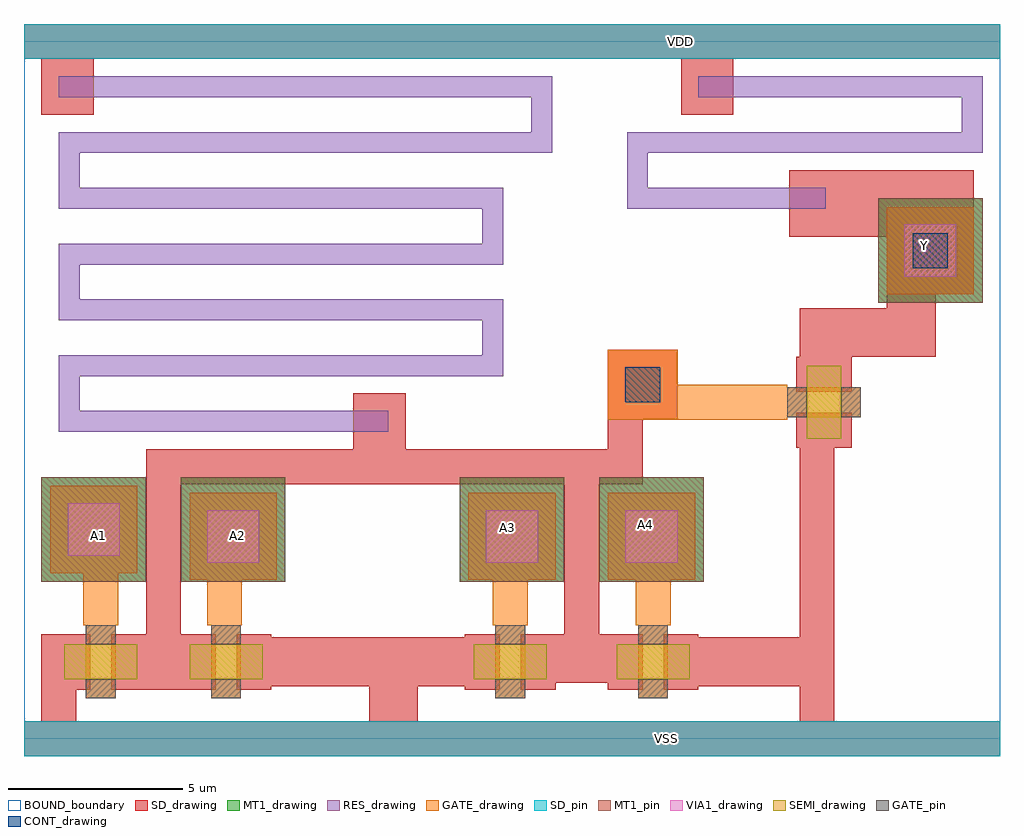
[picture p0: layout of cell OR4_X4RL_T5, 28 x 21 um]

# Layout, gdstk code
from math import pi, radians
import gdstk
lib = gdstk.Library(unit=1e-6, precision=1e-09)
def R(c, l, rs):  # rectangles x0, y0, x1, y1
    for r in rs: c.add(gdstk.rectangle(r[:2], r[2:], *l))
def P(c, l, *ps):  # polygons
    for p in ps: c.add(gdstk.Polygon(p, *l))
RES_drawing = (1, 0)
SEMI_drawing = (3, 0)
SD_drawing = (10, 0)
SD_pin = (10, 3)
GATE_drawing = (11, 0)
GATE_pin = (11, 3)
MT1_drawing = (20, 0)
MT1_pin = (20, 3)
CONT_drawing = (30, 0)
VIA1_drawing = (41, 0)
BOUND_boundary = (150, 5)

nch_cdns_772545144510 = lib.new_cell('nch_CDNS_772545144510')
R(nch_cdns_772545144510, SEMI_drawing, [(-1.05,-0.5,1.05,0.5)])
R(nch_cdns_772545144510, SD_drawing, [(-1.3,-0.8,-0.3,0.8), (0.3,-0.8,1.3,0.8)])
R(nch_cdns_772545144510, GATE_drawing, [(-0.425,-1.05,0.425,1.05)])
R(nch_cdns_772545144510, GATE_pin, [(-0.425,-1.05,0.425,-0.5), (-0.425,0.5,0.425,1.05)])

sd_gate_cdns_77254514451 = lib.new_cell('SD_GATE_CDNS_772545144510')
R(sd_gate_cdns_77254514451, SD_drawing, [(-1,-1,1,1)])
R(sd_gate_cdns_77254514451, GATE_drawing, [(-1,-1,1,1)])
R(sd_gate_cdns_77254514451, CONT_drawing, [(-0.5,-0.5,0.5,0.5)])

c_sd_gate_cdns_77254514451 = lib.new_cell('SD_GATE_CDNS_772545144511')
R(c_sd_gate_cdns_77254514451, SD_drawing, [(-1.25,-1.25,1.25,1.25)])
R(c_sd_gate_cdns_77254514451, GATE_drawing, [(-1.25,-1.25,1.25,1.25)])
R(c_sd_gate_cdns_77254514451, CONT_drawing, [(-0.5,-0.5,0.5,0.5)])

gate_mt1_stack_cdns_7725 = lib.new_cell('GATE_MT1_STACK_CDNS_772545144512')
R(gate_mt1_stack_cdns_7725, GATE_drawing, [(-1.25,-1.25,1.25,1.25)])
R(gate_mt1_stack_cdns_7725, MT1_drawing, [(-1.25,-1.25,1.25,1.25)])
R(gate_mt1_stack_cdns_7725, VIA1_drawing, [(-0.75,-0.75,0.75,0.75)])

or4_x4rl_t5 = lib.new_cell('OR4_X4RL_T5')
R(or4_x4rl_t5, SD_drawing, [(0,-0.5,28,0.5), (0.5,0.5,1.5,3), (15.25,1.6,16.75,3), (9.45,8.3,10.95,9.9), (21.95,14.4,27.25,16.3), (0.5,17.9,2,19.5), (18.85,17.9,20.35,19.5), (0,19.5,28,20.5)])
R(or4_x4rl_t5, SD_pin, [(0,-0.5,28,0.5), (0,19.5,28,20.5)])
P(or4_x4rl_t5, GATE_drawing, [(14.45,3.35),(13.45,3.35),(13.45,3.25),(13.575,3.25),(13.575,3.2),(14.325,3.2),(14.325,3.25),(14.45,3.25)],
  [(6.25,3.35),(5.25,3.35),(5.25,3.25),(5.425,3.25),(5.425,3.2),(6.175,3.2),(6.175,3.25),(6.25,3.25)],
  [(2.7,3.35),(1.7,3.35),(1.7,3.25),(1.825,3.25),(1.825,3.2),(2.575,3.2),(2.575,3.25),(2.7,3.25)],
  [(21.8,10.15),(21.8,9.15),(21.9,9.15),(21.9,9.275),(21.95,9.275),(21.95,10.025),(21.9,10.025),(21.9,10.15)],
  [(18.55,3.35),(17.55,3.35),(17.55,3.25),(17.675,3.25),(17.675,3.2),(18.425,3.2),(18.425,3.25),(18.55,3.25)])
R(or4_x4rl_t5, MT1_drawing, [(0.5,4.5,3.5,7.5), (4.5,4.5,7.5,7.5), (12.5,4.5,15.5,7.5), (16.5,4.5,19.5,7.5), (24.5,12.5,27.5,15.5)])
R(or4_x4rl_t5, MT1_pin, [(0.5,4.5,3.5,7.5), (4.5,4.5,7.5,7.5), (12.5,4.5,15.5,7.5), (16.5,4.5,19.5,7.5), (24.5,12.5,27.5,15.5)])
R(or4_x4rl_t5, BOUND_boundary, [(0,0,28,20)])
or4_x4rl_t5.add(gdstk.FlexPath([(10.6,2.2),(7.1,2.2)], 1.4, ends=(0.7, 0), simple_path=True, layer=10, datatype=0))  # SD_drawing
or4_x4rl_t5.add(gdstk.FlexPath([(22.95,10.95),(22.95,11.65)], 1.4, ends=(0, 0.7), simple_path=True, layer=10, datatype=0))  # SD_drawing
or4_x4rl_t5.add(gdstk.FlexPath([(4.5,2.2),(4,2.2)], 1.4, ends=(0, 0.5), simple_path=True, layer=10, datatype=0))  # SD_drawing
or4_x4rl_t5.add(gdstk.FlexPath([(17.25,7.8),(17.25,11.15)], 1, ends=(0.5, 0), simple_path=True, layer=10, datatype=0))  # SD_drawing
or4_x4rl_t5.add(gdstk.FlexPath([(22.75,7.85),(22.75,0.5)], 1, ends=(0.5, 0), simple_path=True, layer=10, datatype=0))  # SD_drawing
or4_x4rl_t5.add(gdstk.FlexPath([(4,7.8),(16,7.8)], 1, ends=(0, 0.5), simple_path=True, layer=10, datatype=0))  # SD_drawing
or4_x4rl_t5.add(gdstk.FlexPath([(10.6,2.2),(10.6,0.5)], 1.4, ends=(0.7, 0), simple_path=True, layer=10, datatype=0))  # SD_drawing
or4_x4rl_t5.add(gdstk.FlexPath([(4,2.2),(4,7.8)], 1, ends=(0.7, 0.5), simple_path=True, layer=10, datatype=0))  # SD_drawing
or4_x4rl_t5.add(gdstk.FlexPath([(16,7.8),(17.25,7.8)], 1, ends="extended", simple_path=True, layer=10, datatype=0))  # SD_drawing
or4_x4rl_t5.add(gdstk.FlexPath([(4,1.4),(4,2.2)], 1, ends=(0, 0.7), simple_path=True, layer=10, datatype=0))  # SD_drawing
or4_x4rl_t5.add(gdstk.FlexPath([(25.45,11.65),(25.45,12.85)], 1.4, ends=(0.7, 0), simple_path=True, layer=10, datatype=0))  # SD_drawing
or4_x4rl_t5.add(gdstk.FlexPath([(19.35,2.2),(22.25,2.2)], 1.4, ends="flush", simple_path=True, layer=10, datatype=0))  # SD_drawing
or4_x4rl_t5.add(gdstk.FlexPath([(16,7.8),(16,1.6)], 1, ends=(0.5, 0), simple_path=True, layer=10, datatype=0))  # SD_drawing
or4_x4rl_t5.add(gdstk.FlexPath([(22.95,11.65),(25.45,11.65)], 1.4, ends="extended", simple_path=True, layer=10, datatype=0))  # SD_drawing
or4_x4rl_t5.add(gdstk.FlexPath([(11.95,2.2),(10.6,2.2)], 1.4, ends="extended", simple_path=True, layer=10, datatype=0))  # SD_drawing
or4_x4rl_t5.add(gdstk.FlexPath([(21.8,9.65),(16.75,9.65)], 1, ends="flush", simple_path=True, layer=11, datatype=0))  # GATE_drawing
or4_x4rl_t5.add(gdstk.FlexPath([(2.2,3.35),(2.2,4.9)], 1, ends="flush", simple_path=True, layer=11, datatype=0))  # GATE_drawing
or4_x4rl_t5.add(gdstk.FlexPath([(18.05,3.35),(18.05,5.05)], 1, ends="flush", simple_path=True, layer=11, datatype=0))  # GATE_drawing
or4_x4rl_t5.add(gdstk.FlexPath([(13.95,3.35),(13.95,5.05)], 1, ends="flush", simple_path=True, layer=11, datatype=0))  # GATE_drawing
or4_x4rl_t5.add(gdstk.FlexPath([(5.75,3.35),(5.75,4.9)], 1, ends="flush", simple_path=True, layer=11, datatype=0))  # GATE_drawing
or4_x4rl_t5.add(gdstk.FlexPath([(2,18.7),(14.85,18.7),(14.85,17.1),(1.3,17.1),(1.3,15.5),(13.45,15.5),(13.45,13.9),(1.3,13.9),(1.3,12.3),(13.45,12.3),(13.45,10.7),(1.3,10.7),(1.3,9.1),(9.45,9.1)], 0.6, ends=(1, 1), simple_path=True, layer=1, datatype=0))  # RES_drawing
or4_x4rl_t5.add(gdstk.FlexPath([(19.35,18.7),(27.2,18.7),(27.2,17.1),(17.6,17.1),(17.6,15.5),(23,15.5)], 0.6, ends="flush", simple_path=True, layer=1, datatype=0))  # RES_drawing
or4_x4rl_t5.add(gdstk.Reference(nch_cdns_772545144510, (22.95,9.65), rotation=pi/2, x_reflection=True))
or4_x4rl_t5.add(gdstk.Reference(nch_cdns_772545144510, (13.95,2.2), x_reflection=True))
or4_x4rl_t5.add(gdstk.Reference(nch_cdns_772545144510, (5.8,2.2)))
or4_x4rl_t5.add(gdstk.Reference(nch_cdns_772545144510, (18.05,2.2)))
or4_x4rl_t5.add(gdstk.Reference(nch_cdns_772545144510, (2.2,2.2)))
or4_x4rl_t5.add(gdstk.Reference(sd_gate_cdns_77254514451, (17.75,10.15)))
or4_x4rl_t5.add(gdstk.Reference(c_sd_gate_cdns_77254514451, (26,14)))
or4_x4rl_t5.add(gdstk.Reference(gate_mt1_stack_cdns_7725, (26,14)))
or4_x4rl_t5.add(gdstk.Reference(gate_mt1_stack_cdns_7725, (2,6)))
or4_x4rl_t5.add(gdstk.Reference(gate_mt1_stack_cdns_7725, (6,5.8)))
or4_x4rl_t5.add(gdstk.Reference(gate_mt1_stack_cdns_7725, (14,5.8)))
or4_x4rl_t5.add(gdstk.Reference(gate_mt1_stack_cdns_7725, (18,5.8)))
or4_x4rl_t5.add(gdstk.Label('A1', (2.125,5.825), layer=20, texttype=3))
or4_x4rl_t5.add(gdstk.Label('A4', (17.825,6.15), layer=20, texttype=3))
or4_x4rl_t5.add(gdstk.Label('A3', (13.875,6.05), layer=20, texttype=3))
or4_x4rl_t5.add(gdstk.Label('Y', (25.825,14.15), layer=20, texttype=3))
or4_x4rl_t5.add(gdstk.Label('A2', (6.125,5.825), layer=20, texttype=3))
or4_x4rl_t5.add(gdstk.Label('VDD', (18.825,20), layer=10, texttype=3))
or4_x4rl_t5.add(gdstk.Label('VSS', (18.425,0), layer=10, texttype=3))

lib.write_gds('OR4_X4RL_T5.gds')
